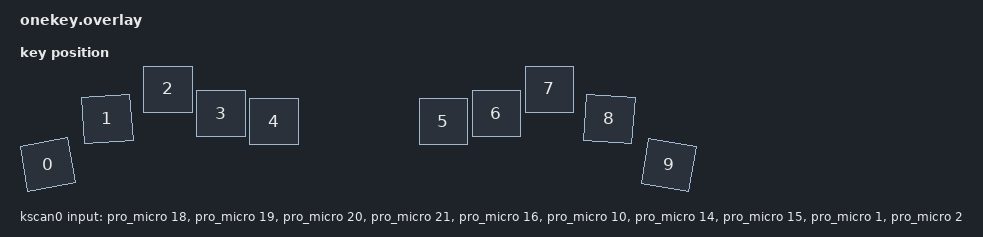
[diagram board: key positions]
/*
 * Copyright (c) 2021 The ZMK Contributors
 *
 * SPDX-License-Identifier: MIT
 */

#include <physical_layouts.dtsi>

/ {
    chosen {
        zmk,kscan = &kscan0;
    };
    kscan0: kscan_0 {
        compatible = "zmk,kscan-gpio-direct";

        input-gpios
            = <&pro_micro 18 (GPIO_ACTIVE_LOW | GPIO_PULL_UP)>
            , <&pro_micro 19 (GPIO_ACTIVE_LOW | GPIO_PULL_UP)>
            , <&pro_micro 20 (GPIO_ACTIVE_LOW | GPIO_PULL_UP)>
            , <&pro_micro 21 (GPIO_ACTIVE_LOW | GPIO_PULL_UP)>
            , <&pro_micro 16 (GPIO_ACTIVE_LOW | GPIO_PULL_UP)>
            , <&pro_micro 10 (GPIO_ACTIVE_LOW | GPIO_PULL_UP)>
            , <&pro_micro 14 (GPIO_ACTIVE_LOW | GPIO_PULL_UP)>
            , <&pro_micro 15 (GPIO_ACTIVE_LOW | GPIO_PULL_UP)>
            , <&pro_micro 1  (GPIO_ACTIVE_LOW | GPIO_PULL_UP)>
            , <&pro_micro 2  (GPIO_ACTIVE_LOW | GPIO_PULL_UP)>
            ;
    };

        default_layout: default_layout {
        compatible = "zmk,physical-layout";
        display-name = "ONEKEY";

        keys  //                     w   h    x    y     rot   rx   ry
            = <&key_physical_attrs 105 100   77  151 (-1000)  130  201>
            , <&key_physical_attrs 105 100  196   60  (-400)  249  110>
            , <&key_physical_attrs 105 100  317    0       0    0    0>
            , <&key_physical_attrs 105 100  423   49       0    0    0>
            , <&key_physical_attrs 105 100  529   65       0    0    0>
            , <&key_physical_attrs 105 100  868   65       0    0    0>
            , <&key_physical_attrs 105 100  974   49       0    0    0>
            , <&key_physical_attrs 105 100 1080    0       0    0    0>
            , <&key_physical_attrs 105 100 1200   60     400 1253  110>
            , <&key_physical_attrs 105 100 1319  152    1000 1372  202>
            ;
    };

};
